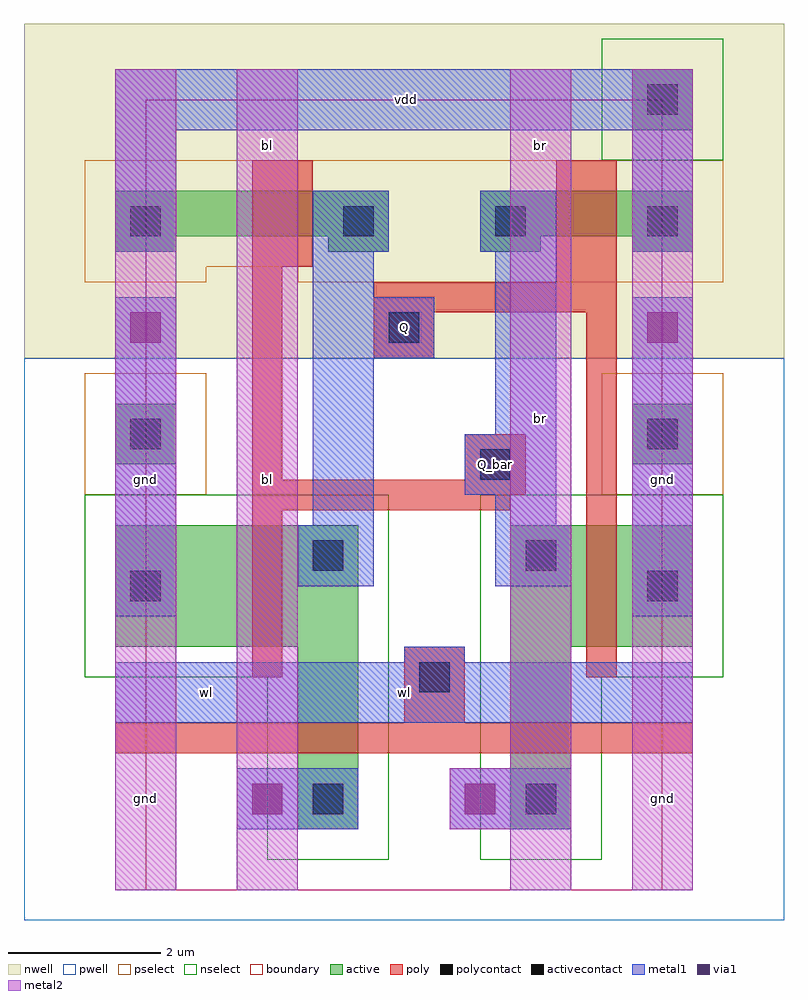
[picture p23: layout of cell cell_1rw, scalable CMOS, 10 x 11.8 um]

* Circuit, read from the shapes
.subckt cell_1rw Q Q_bar bl br gnd vdd wl
M1 Q Q_bar gnd gnd nfet w=1.6u l=0.4u
M2 Q wl bl gnd nfet w=0.8u l=0.4u
M3 Q_bar wl br gnd nfet w=0.8u l=0.4u
M4 gnd Q Q_bar gnd nfet w=1.6u l=0.4u
M5 Q Q_bar vdd vdd pfet w=0.6u l=0.8u
M6 vdd Q Q_bar vdd pfet w=0.6u l=0.8u
.ends

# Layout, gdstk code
import gdstk
lib = gdstk.Library(unit=1e-6, precision=1e-09)
def R(c, l, rs):  # rectangles x0, y0, x1, y1
    for r in rs: c.add(gdstk.rectangle(r[:2], r[2:], *l))
def A(c, l, x, y, w, h, nx, ny, dx, dy):  # array of equal rectangles
    R(c, l, [(x+i*dx, y+j*dy, x+i*dx+w, y+j*dy+h) for i in range(nx) for j in range(ny)])
pwell = (41, 0)
nwell = (42, 0)
active = (43, 0)
pselect = (44, 0)
nselect = (45, 0)
poly = (46, 0)
polycontact = (47, 0)
activecontact = (48, 0)
metal1 = (49, 0)
via1 = (50, 0)
metal2 = (51, 0)
boundary = (63, 0)

cell_1rw = lib.new_cell('cell_1rw')
R(cell_1rw, pwell, [(-1.6,-0.4,8.4,7)])
R(cell_1rw, nwell, [(-1.6,7,8.4,11.4)])
A(cell_1rw, active, 2.4, 8.4, 0.8, 0.2, 3, 1, 2, 0)
R(cell_1rw, active, [(2,0.8,2.8,3.2), (4.8,0.8,5.6,3.2), (-0.4,3.2,2.8,4.8), (4.8,3.2,7.2,4.8), (-0.4,5.6,0.4,6.4), (6.4,5.6,7.2,6.4), (-0.4,8.4,0.4,8.6), (-0.4,8.6,3.2,9.2), (4.4,8.6,7.2,9.2), (6.4,10,7.2,10.8)])
R(cell_1rw, pselect, [(-0.8,5.2,0.8,6.8), (6,5.2,7.6,6.8), (-0.8,8,0.8,8.2), (2,8,7.6,8.2), (-0.8,8.2,7.6,9.6)])
R(cell_1rw, nselect, [(1.6,0.4,3.2,2.8), (4.4,0.4,6,2.8), (-0.8,2.8,3.2,5.2), (4.4,2.8,7.6,5.2), (6,9.6,7.6,11.2)])
R(cell_1rw, poly, [(-0.4,1.8,7.2,2.2), (3.4,2.2,4.2,3.2), (1.4,2.8,1.8,5), (5.8,2.8,6.2,7.6), (1.4,5,4.8,5.2), (1.4,5.2,5,5.4), (1.4,5.4,1.8,8.2), (4.2,5.4,5,6), (3,7,3.8,7.6), (3,7.6,6.2,8), (5.4,8,6.2,9.6), (1.4,8.2,2.2,9.6)])
R(cell_1rw, polycontact, [(3.6,2.6,4,3), (4.4,5.4,4.8,5.8), (3.2,7.2,3.6,7.6)])
A(cell_1rw, activecontact, 2.6, 8.6, 0.4, 0.4, 3, 1, 2, 0)
R(cell_1rw, activecontact, [(2.2,1,2.6,1.4), (5,1,5.4,1.4), (-0.2,3.8,0.2,4.2), (6.6,3.8,7,4.2), (2.2,4.2,2.6,4.6), (5,4.2,5.4,4.6), (-0.2,5.8,0.2,6.2), (6.6,5.8,7,6.2), (-0.2,8.6,0.2,9), (6.6,10.2,7,10.6)])
R(cell_1rw, metal1, [(1.2,0.8,2.8,1.6), (4,0.8,5.6,1.6), (-0.4,2.2,7.2,3), (-0.4,2.2,7.2,3), (3.4,3,4.2,3.2), (-0.4,3.6,0.4,7.8), (6.4,3.6,7.2,7.8), (2,4,3,4.8), (4.6,4,5.6,4.8), (2.2,4.8,3,7), (4.6,4.8,5.4,5.2), (4.2,5.2,5.4,6), (4.6,6,5.4,8.4), (2.2,7,3.8,7.8), (2.2,7.8,3,8.4), (-0.4,8.4,0.4,10), (2.2,8.4,3.2,9.2), (4.4,8.4,5.4,9.2), (6.4,8.4,7.2,10), (-0.4,10,7.2,10.8), (-0.4,10,7.2,10.8)])
R(cell_1rw, via1, [(1.4,1,1.8,1.4), (4.2,1,4.6,1.4), (-0.2,7.2,0.2,7.6), (6.6,7.2,7,7.6)])
R(cell_1rw, metal2, [(-0.4,0,0.4,10.8), (-0.4,0,0.4,10.8), (1.2,0,2,10.8), (1.2,0,2,10.8), (4.8,0,5.6,0.8), (6.4,0,7.2,10.8), (6.4,0,7.2,10.8), (4,0.8,5.6,1.6), (4.8,1.6,5.6,10.8), (4.8,1.6,5.6,10.8)])
R(cell_1rw, boundary, [(0,0,6.8,10.4)])
cell_1rw.add(gdstk.Label('vdd', (3.43,10.4), layer=49, texttype=0))
cell_1rw.add(gdstk.Label('wl', (0.8,2.6), layer=49, texttype=0))
cell_1rw.add(gdstk.Label('Q', (3.4,7.4), layer=49, texttype=0))
cell_1rw.add(gdstk.Label('Q_bar', (4.6,5.6), layer=49, texttype=0))
cell_1rw.add(gdstk.Label('gnd', (0,1.2), layer=51, texttype=0))
cell_1rw.add(gdstk.Label('gnd', (6.8,1.2), layer=51, texttype=0))
cell_1rw.add(gdstk.Label('bl', (1.6,9.8), layer=51, texttype=0))
cell_1rw.add(gdstk.Label('br', (5.2,9.8), layer=51, texttype=0))
cell_1rw.add(gdstk.Label('bl', (1.6,5.4), layer=51, texttype=0))
cell_1rw.add(gdstk.Label('br', (5.2,6.2), layer=51, texttype=0))
cell_1rw.add(gdstk.Label('wl', (3.4,2.6), layer=49, texttype=0))
cell_1rw.add(gdstk.Label('vdd', (3.4,10.4), layer=49, texttype=0))
cell_1rw.add(gdstk.Label('gnd', (0,5.4), layer=51, texttype=0))
cell_1rw.add(gdstk.Label('gnd', (6.8,5.4), layer=51, texttype=0))

lib.write_gds('cell_1rw.gds')
